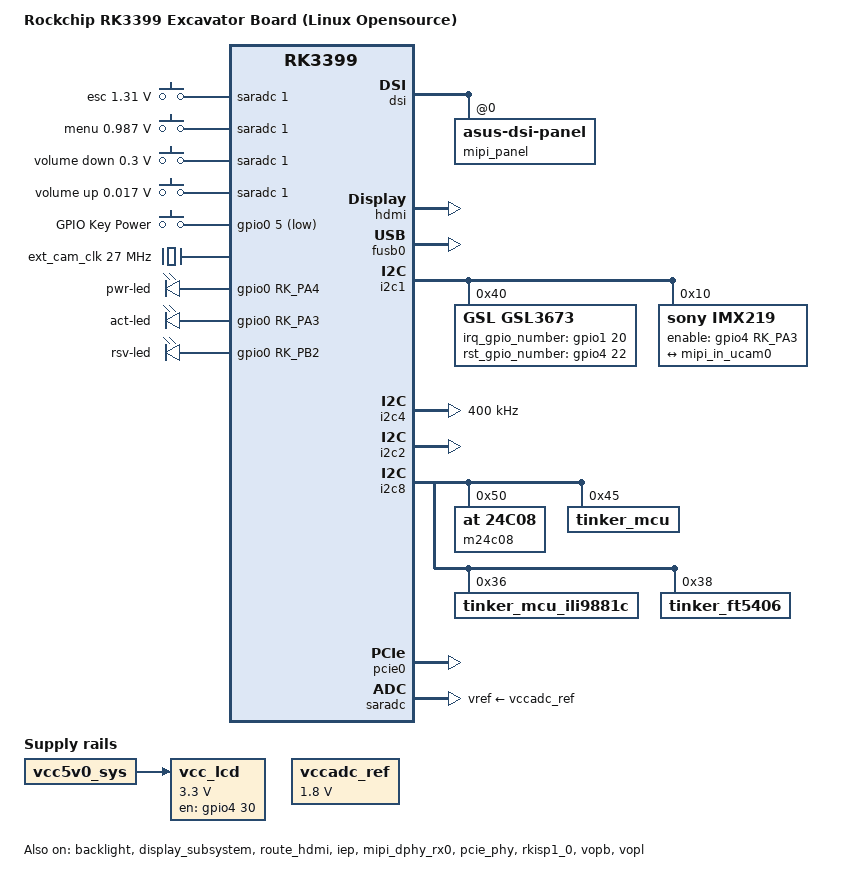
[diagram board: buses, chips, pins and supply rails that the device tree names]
/*
 * Copyright (c) 2019 Fuzhou Rockchip Electronics Co., Ltd
 *
 * This file is dual-licensed: you can use it either under the terms
 * of the GPL or the X11 license, at your option. Note that this dual
 * licensing only applies to this file, and not this project as a
 * whole.
 *
 *  a) This file is free software; you can redistribute it and/or
 *     modify it under the terms of the GNU General Public License as
 *     published by the Free Software Foundation; either version 2 of the
 *     License, or (at your option) any later version.
 *
 *     This file is distributed in the hope that it will be useful,
 *     but WITHOUT ANY WARRANTY; without even the implied warranty of
 *     MERCHANTABILITY or FITNESS FOR A PARTICULAR PURPOSE.  See the
 *     GNU General Public License for more details.
 *
 * Or, alternatively,
 *
 *  b) Permission is hereby granted, free of charge, to any person
 *     obtaining a copy of this software and associated documentation
 *     files (the "Software"), to deal in the Software without
 *     restriction, including without limitation the rights to use,
 *     copy, modify, merge, publish, distribute, sublicense, and/or
 *     sell copies of the Software, and to permit persons to whom the
 *     Software is furnished to do so, subject to the following
 *     conditions:
 *
 *     The above copyright notice and this permission notice shall be
 *     included in all copies or substantial portions of the Software.
 *
 *     THE SOFTWARE IS PROVIDED "AS IS", WITHOUT WARRANTY OF ANY KIND,
 *     EXPRESS OR IMPLIED, INCLUDING BUT NOT LIMITED TO THE WARRANTIES
 *     OF MERCHANTABILITY, FITNESS FOR A PARTICULAR PURPOSE AND
 *     NONINFRINGEMENT. IN NO EVENT SHALL THE AUTHORS OR COPYRIGHT
 *     HOLDERS BE LIABLE FOR ANY CLAIM, DAMAGES OR OTHER LIABILITY,
 *     WHETHER IN AN ACTION OF CONTRACT, TORT OR OTHERWISE, ARISING
 *     FROM, OUT OF OR IN CONNECTION WITH THE SOFTWARE OR THE USE OR
 *     OTHER DEALINGS IN THE SOFTWARE.
 */

/dts-v1/;

#include "rk3399-excavator-sapphire.dtsi"
#include "rk3399-linux.dtsi"
#include <dt-bindings/input/input.h>

/ {
	model = "Rockchip RK3399 Excavator Board (Linux Opensource)";
	compatible = "rockchip,rk3399-excavator-linux", "rockchip,rk3399";

	vcc_lcd: vcc-lcd {
		compatible = "regulator-fixed";
		regulator-name = "vcc_lcd";
		gpio = <&gpio4 30 GPIO_ACTIVE_HIGH>;
		startup-delay-us = <20000>;
		enable-active-high;
		regulator-min-microvolt = <3300000>;
		regulator-max-microvolt = <3300000>;
		regulator-boot-on;
		vin-supply = <&vcc5v0_sys>;
	};

	vccadc_ref: vccadc-ref {
		compatible = "regulator-fixed";
		regulator-name = "vcc1v8_sys";
		regulator-always-on;
		regulator-boot-on;
		regulator-min-microvolt = <1800000>;
		regulator-max-microvolt = <1800000>;
	};

	adc_keys: adc-keys {
		compatible = "adc-keys";
		io-channels = <&saradc 1>;
		io-channel-names = "buttons";
		poll-interval = <100>;
		keyup-threshold-microvolt = <1800000>;

		esc-key {
			linux,code = <KEY_ESC>;
			label = "esc";
			press-threshold-microvolt = <1310000>;
		};

		menu-key {
			linux,code = <KEY_MENU>;
			label = "menu";
			press-threshold-microvolt = <987000>;
		};

		vol-down-key {
			linux,code = <KEY_VOLUMEDOWN>;
			label = "volume down";
			press-threshold-microvolt = <300000>;
		};

		vol-up-key {
			linux,code = <KEY_VOLUMEUP>;
			label = "volume up";
			press-threshold-microvolt = <17000>;
		};
	};

	gpio_keys: gpio-keys {
		compatible = "gpio-keys";
		#address-cells = <1>;
		#size-cells = <0>;
		autorepeat;

		pinctrl-names = "default";
		pinctrl-0 = <&pwrbtn>;

		button@0 {
			gpios = <&gpio0 5 GPIO_ACTIVE_LOW>;
			linux,code = <KEY_POWER>;
			label = "GPIO Key Power";
			linux,input-type = <1>;
			gpio-key,wakeup = <1>;
			debounce-interval = <100>;
		};
	};

	ext_cam_clk: external-camera-clock {
		compatible = "fixed-clock";
		clock-frequency = <27000000>;
		clock-output-names = "CLK_CAMERA_27MHZ";
		#clock-cells = <0>;
	};

	/delete-node/ rt5651-sound;
	rt5651_sound: rt5651-sound {
		compatible = "rockchip,multicodecs-card";
		rockchip,card-name = "realtek,rt5651-codec";
		rockchip,codec-hp-det;
		rockchip,mclk-fs = <256>;
		rockchip,cpu = <&i2s0>;
		rockchip,codec = <&rt5651>;
		status = "okay";
	};

	test_power: test-power {
		status = "okay";
	};

	gpio-leds {
		compatible = "gpio-leds";

		pwr-led {
			gpios = <&gpio0 RK_PA4 GPIO_ACTIVE_HIGH>;
			linux,default-trigger = "default-on";
			retain-state-suspended = <1>;
		};

		act-led {
			gpios = <&gpio0 RK_PA3 GPIO_ACTIVE_HIGH>;
			linux,default-trigger="mmc0";
		};

		rsv-led {
			gpios = <&gpio0 RK_PB2 GPIO_ACTIVE_HIGH>;
			linux,default-trigger="none";
		};
	};

	board_info: board-info {
		compatible = "board-info";

		hw-id0 = <&gpio4 RK_PA7 GPIO_ACTIVE_HIGH>;
		hw-id1 = <&gpio4 RK_PA6 GPIO_ACTIVE_HIGH>;
		hw-id2 = <&gpio4 RK_PA5 GPIO_ACTIVE_HIGH>;

		pid-id0 = <&gpio2 RK_PA5 GPIO_ACTIVE_HIGH>;
		pid-id1 = <&gpio2 RK_PA3 GPIO_ACTIVE_HIGH>;
		pid-id2 = <&gpio2 RK_PA2 GPIO_ACTIVE_HIGH>;

		ddr-id1 = <&gpio4 RK_PA4 GPIO_ACTIVE_HIGH>;
		ddr-id2 = <&gpio4 RK_PA0 GPIO_ACTIVE_HIGH>;

		pmic-reset = <&gpio1 RK_PA6 GPIO_ACTIVE_HIGH>;
	};
};


&pinctrl {
        pinctrl-names = "default";
        pinctrl-0 = <&gpio_init &test_clkout2>;

        gpio_init_config {
                gpio_init: gpio_init {
			rockchip,pins =
				<1 7 0 &pcfg_pull_none>,
				<1 8 0 &pcfg_pull_none>,
				<1 9 0 &pcfg_pull_none>,
				<1 10 0 &pcfg_pull_none>,
				<2 19 0 &pcfg_pull_none>;
                };
        };

        testclk {
                test_clkout2: test-clkout2 {
			rockchip,pins =
				<0 8 RK_FUNC_3 &pcfg_pull_none>;
                };
        };
};

&backlight {
	status = "okay";
	enable-gpios = <&gpio4 29 GPIO_ACTIVE_HIGH>;
};

&display_subsystem {
	status = "okay";
};

&dsi {
	status = "okay";
	mipi_panel: mipi-panel {
		compatible ="asus-dsi-panel";
		reg = <0>;
		status = "okay";
	};
};

&dsi_in_vopb {
	status = "disabled";
};

&edp {
	status = "disabled";
};

&edp_in_vopb {
	status = "disabled";
};

&edp_in_vopl {
	status = "disabled";
};

&dp_in_vopb {
	status = "disabled";
};

&hdmi {
	status = "okay";
	pinctrl-0 = <&hdmi_i2c_xfer>, <&hdmi_cec>;
	#sound-dai-cells = <0>;
	rockchip,phy-table =
		<74250000  0x8009 0x0004 0x0272>,
		<165000000 0x802b 0x0004 0x0209>,
		<297000000 0x8039 0x0005 0x028d>,
		<594000000 0x8039 0x0000 0x00f6>,
		<000000000 0x0000 0x0000 0x0000>;
};

&hdmi_in_vopl {
	status = "disabled";
};

&route_hdmi {
	status = "okay";
	connect = <&vopb_out_hdmi>;
};

&fusb0 {
	vbus-5v-gpios = <&gpio1 RK_PA3 GPIO_ACTIVE_HIGH>;
	status = "okay";
};

&i2c1 {
	status = "okay";

	gsl3673: gsl3673@40 {
		compatible = "GSL,GSL3673";
		reg = <0x40>;
		screen_max_x = <1536>;
		screen_max_y = <2048>;
		irq_gpio_number = <&gpio1 20 IRQ_TYPE_LEVEL_LOW>;
		rst_gpio_number = <&gpio4 22 GPIO_ACTIVE_HIGH>;
	};

	imx219: imx219@10 {
		compatible = "sony,imx219";
		status = "okay";
		reg = <0x10>;
		clocks = <&cru SCLK_CIF_OUT>;
		clock-names = "xvclk";
		pinctrl-names = "rockchip,camera_default";
		pinctrl-0 = <&cif_clkout>;

		enable-gpios = <&gpio4 RK_PA3 GPIO_ACTIVE_HIGH>;
		rockchip,camera-module-index = <0>;
		rockchip,camera-module-facing = "back";
		rockchip,camera-module-name = "RPi_v21";
		rockchip,camera-module-lens-name = "default";

		port {
			imx219_out: endpoint {
				remote-endpoint = <&mipi_in_ucam0>;
				data-lanes = <1 2>;
			};
		};
	};

	ov5647: ov5647@36 {
		compatible = "ovti,ov5647";
		status = "disabled";
		reg = <0x36>;
		clocks = <&cru SCLK_CIF_OUT>;
		clock-names = "xvclk";

		pinctrl-names = "rockchip,camera_default";
		pinctrl-0 = <&cif_clkout>;

		enable-gpios = <&gpio4 RK_PA3 GPIO_ACTIVE_HIGH>;

		rockchip,camera-module-index = <0>;
		rockchip,camera-module-facing = "back";
		rockchip,camera-module-name = "RPi_v13";
		rockchip,camera-module-lens-name = "default";

		port {
			ov5647_out: endpoint {
			};
		};
	};
};

&i2c4 {
	status = "okay";
	clock-frequency = <400000>;
};

&i2c2 {
	status = "okay";
	i2c-scl-rising-time-ns = <345>;
	i2c-scl-falling-time-ns = <11>;
};

&i2c6 {
	status = "disable";
};

&i2c7 {
	status = "disable";
};

&i2c8 {
	status = "okay";
	m24c08@50 {
		compatible = "at,24c08";
		reg = <0x50>;
	};

	tinker_mcu: tinker_mcu@45 {
		compatible = "tinker_mcu";
		reg = <0x45>;
	};

	tinker_mcu_ili9881c: tinker_mcu_ili9881c@36 {
		compatible = "tinker_mcu_ili9881c";
		reg = <0x36>;
	};

	tinker_ft5406: tinker_ft5406@38 {
		compatible = "tinker_ft5406";
		reg = <0x38>;
	};
};

&spi1 {
	status = "disable";
	max-freq = <48000000>; /* spi internal clk, don't modify */
	spi_dev@0 {
		compatible = "rockchip,spidev";
		reg = <0>;
		spi-max-frequency = <48000000>;
		spi-lsb-first;
	};
};

&spi5 {
	status = "disable";
	max-freq = <48000000>;   //spi internal clk, don't modify
	spi_dev@0 {
		compatible = "rockchip,spidev";
		reg = <0>;   //chip select  0:cs0  1:cs1
		id = <0>;
		spi-max-frequency = <48000000>;   //spi output clock
	};
};

&uart0 {
	status = "disable";
};

&uart4 {
	status = "disable";
};

&pwm1 {
        status = "disable";
};

&pwm3 {
        status = "disable";
};

&iep {
	status = "okay";
};

&iep_mmu {
	status = "okay";
};

&isp0_mmu {
	status = "okay";
};

&isp1_mmu {
	status = "disabled";
};

&mipi_dphy_rx0 {
	status = "okay";

	ports {
		#address-cells = <1>;
		#size-cells = <0>;

		port@0 {
			reg = <0>;
			#address-cells = <1>;
			#size-cells = <0>;

			mipi_in_ucam0: endpoint@1 {
				reg = <1>;
				remote-endpoint = <&imx219_out>;
				data-lanes = <1 2>;
			};
		};

		port@1 {
			reg = <1>;
			#address-cells = <1>;
			#size-cells = <0>;

			dphy_rx0_out: endpoint@0 {
				reg = <0>;
				remote-endpoint = <&isp0_mipi_in>;
			};
		};
	};
};

&mipi_dphy_tx1rx1 {
	status = "disabled";

	ports {
		#address-cells = <1>;
		#size-cells = <0>;

		port@0 {
			reg = <0>;
			#address-cells = <1>;
			#size-cells = <0>;

			mipi_in_ucam1: endpoint@1 {
				reg = <1>;
				/* Unlinked camera */
				//remote-endpoint = <&ucam_out1>;
				data-lanes = <1 2>;
			};
		};

		port@1 {
			reg = <1>;
			#address-cells = <1>;
			#size-cells = <0>;

			dphy_tx1rx1_out: endpoint@0 {
				reg = <0>;
				remote-endpoint = <&isp1_mipi_in>;
			};
		};
	};
};

&pcie_phy {
	status = "okay";
};

&pcie0 {
	status = "okay";
};

&rkisp1_0 {
	status = "okay";

	port {
		#address-cells = <1>;
		#size-cells = <0>;

		isp0_mipi_in: endpoint@0 {
			reg = <0>;
			remote-endpoint = <&dphy_rx0_out>;
		};
	};
};

&rkisp1_1 {
	status = "disabled";

	port {
		#address-cells = <1>;
		#size-cells = <0>;

		isp1_mipi_in: endpoint@0 {
			reg = <0>;
			remote-endpoint = <&dphy_tx1rx1_out>;
		};
	};
};

&route_edp {
	status = "disabled";
};

&saradc {
	vref-supply = <&vccadc_ref>;
};

&sdmmc {
	sd-uhs-sdr12;
	sd-uhs-sdr25;
	sd-uhs-sdr50;
	sd-uhs-sdr104;
	supports-emmc;
};

&vopb {
	assigned-clocks = <&cru DCLK_VOP0_DIV>;
	assigned-clock-parents = <&cru PLL_VPLL>;
	status = "okay";
};

&vopb_mmu {
	status = "okay";
};

&vopl {
	assigned-clocks = <&cru DCLK_VOP1_DIV>;
	assigned-clock-parents = <&cru PLL_CPLL>;
	status = "okay";
};

&vopl_mmu {
	status = "okay";
};

&rockchip_suspend {
	status = "okay";
	rockchip,wakeup-config = <
		(0
		| RKPM_GPIO_WKUP_EN
		| RKPM_PWM_WKUP_EN
		| RKPM_USB_WKUP_EN
		| RKPM_USB_LINESTATE_WKUP_EN
		)
	>;
};

&pinctrl {
	buttons {
		pwrbtn: pwrbtn {
			rockchip,pins = <0 5 RK_FUNC_GPIO &pcfg_pull_up>;
		};
	};
};

&fiq_debugger {
	rockchip,baudrate = <115200>;
};

/* DON'T PUT ANYTHING BELOW HERE.  PUT IT ABOVE PINCTRL */
/* DON'T PUT ANYTHING BELOW HERE.  PUT IT ABOVE PINCTRL */
/* DON'T PUT ANYTHING BELOW HERE.  PUT IT ABOVE PINCTRL */
